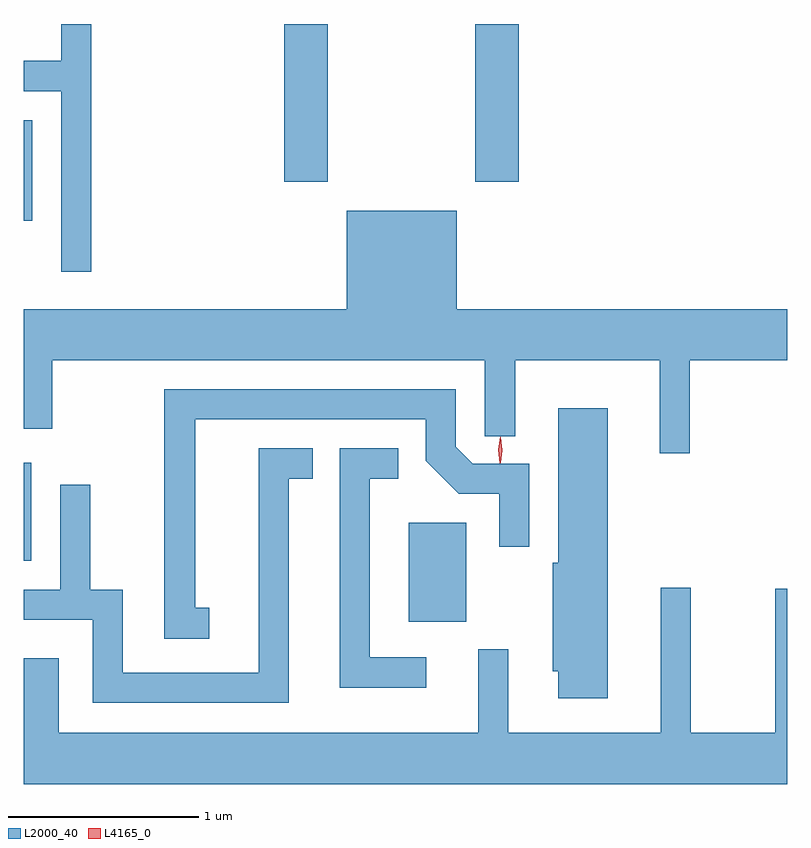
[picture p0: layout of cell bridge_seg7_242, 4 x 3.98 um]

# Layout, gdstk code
import gdstk
lib = gdstk.Library(unit=1e-6, precision=1e-09)
def R(c, l, rs):  # rectangles x0, y0, x1, y1
    for r in rs: c.add(gdstk.rectangle(r[:2], r[2:], *l))
def P(c, l, *ps):  # polygons
    for p in ps: c.add(gdstk.Polygon(p, *l))
L2000_40 = (2000, 40)
L4165_0 = (4165, 0)

bridge_seg7_242 = lib.new_cell('bridge_seg7_242')
R(bridge_seg7_242, L2000_40, [(1789.601,1697.406,1789.904,1697.924), (1787.585,1697.726,1787.624,1698.239), (1787.585,1699.506,1787.629,1700.034), (1788.951,1699.711,1789.179,1700.537), (1789.951,1699.711,1790.179,1700.537)])
P(bridge_seg7_242, L2000_40, [(1787.939,1700.537),(1787.781,1700.537),(1787.781,1700.344),(1787.585,1700.344),(1787.585,1700.186),(1787.781,1700.186),(1787.781,1699.238),(1787.939,1699.238)],
  [(1791.074,1698.776),(1791.585,1698.776),(1791.585,1699.044),(1789.854,1699.044),(1789.854,1699.559),(1789.276,1699.559),(1789.276,1699.044),(1787.585,1699.044),(1787.585,1698.418),(1787.734,1698.418),(1787.734,1698.776),(1790.001,1698.776),(1790.001,1698.378),(1790.159,1698.378),(1790.159,1698.776),(1790.916,1698.776),(1790.916,1698.288),(1791.074,1698.288)],
  [(1788.558,1697.479),(1788.484,1697.479),(1788.484,1698.466),(1789.691,1698.466),(1789.691,1698.249),(1789.864,1698.076),(1790.076,1698.076),(1790.076,1697.798),(1790.234,1697.798),(1790.234,1698.234),(1789.937,1698.234),(1789.849,1698.322),(1789.849,1698.624),(1788.321,1698.624),(1788.321,1697.316),(1788.558,1697.316)],
  [(1790.644,1698.524),(1790.386,1698.524),(1790.386,1697.714),(1790.356,1697.714),(1790.356,1697.146),(1790.386,1697.146),(1790.386,1697.006),(1790.644,1697.006)],
  [(1789.693,1697.219),(1789.399,1697.219),(1789.399,1698.156),(1789.548,1698.156),(1789.548,1698.314),(1789.241,1698.314),(1789.241,1697.061),(1789.693,1697.061)],
  [(1788.974,1698.156),(1789.098,1698.156),(1789.098,1698.314),(1788.816,1698.314),(1788.816,1697.139),(1788.104,1697.139),(1788.104,1697.574),(1787.934,1697.574),(1787.934,1698.123),(1787.776,1698.123),(1787.776,1697.574),(1787.585,1697.574),(1787.585,1697.416),(1787.946,1697.416),(1787.946,1696.981),(1788.974,1696.981)],
  [(1791.585,1697.579),(1791.521,1697.579),(1791.521,1696.824),(1791.079,1696.824),(1791.079,1697.583),(1790.921,1697.583),(1790.921,1696.824),(1790.124,1696.824),(1790.124,1697.263),(1789.966,1697.263),(1789.966,1696.824),(1787.769,1696.824),(1787.769,1697.214),(1787.585,1697.214),(1787.585,1696.556),(1791.585,1696.556)])
P(bridge_seg7_242, L4165_0, [(1790.08,1698.236),(1790.08,1698.237),(1790.071,1698.306),(1790.081,1698.375),(1790.082,1698.376),(1790.082,1698.375),(1790.091,1698.306),(1790.081,1698.237)],
  [(1790.082,1698.239),(1790.082,1698.239),(1790.073,1698.306),(1790.084,1698.372),(1790.084,1698.372),(1790.085,1698.372),(1790.093,1698.305),(1790.083,1698.239)])

lib.write_gds('bridge_seg7_242.gds')
